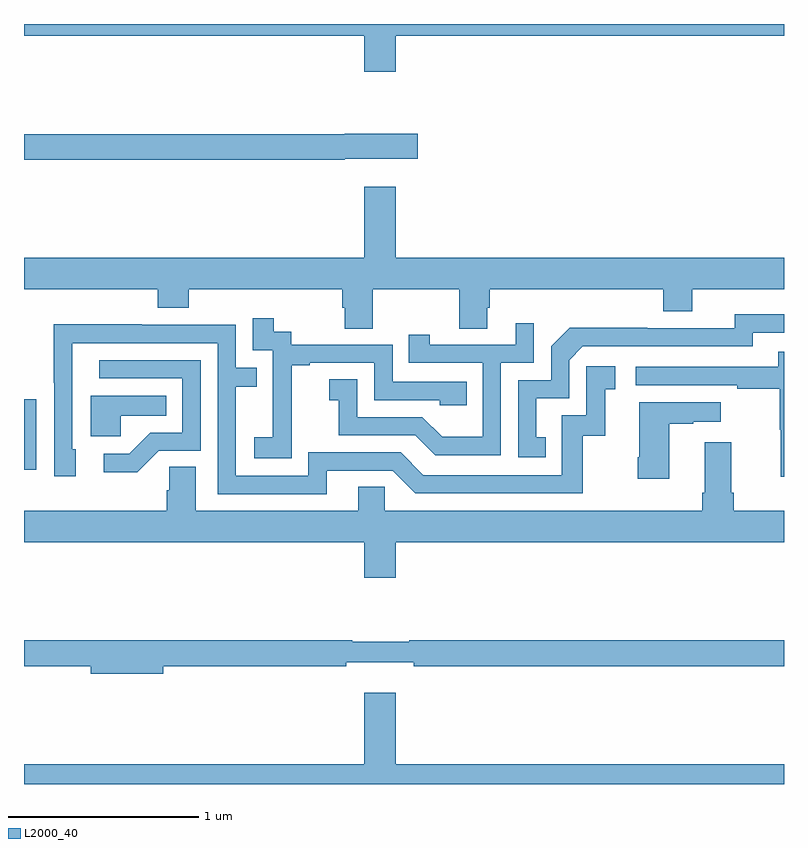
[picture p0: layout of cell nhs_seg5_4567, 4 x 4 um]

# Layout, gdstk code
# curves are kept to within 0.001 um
import gdstk
lib = gdstk.Library(unit=1e-6, precision=1e-09)
def R(c, l, rs):  # rectangles x0, y0, x1, y1
    for r in rs: c.add(gdstk.rectangle(r[:2], r[2:], *l))
def P(c, l, *ps):  # polygons
    for p in ps: c.add(gdstk.Polygon(p, *l))
L2000_40 = (2000, 40)

nhs_seg5_4567 = lib.new_cell('nhs_seg5_4567')
R(nhs_seg5_4567, L2000_40, [(379,878.454,379.065,878.824)])
P(nhs_seg5_4567, L2000_40, [(380.956,880.736),(383,880.736),(383,880.799),(379,880.799),(379,880.736),(380.792,880.736),(380.792,880.548),(380.956,880.548)],
  [(380.688,880.091),(381.073,880.091),(381.073,880.221),(380.688,880.221),(380.688,880.22),(379,880.22),(379,880.084),(380.688,880.084)],
  [(380.835,879.404),(381.292,879.404),(381.292,879.196),(381.439,879.196),(381.439,879.306),(381.452,879.306),(381.452,879.404),(382.364,879.404),(382.364,879.287),(382.516,879.287),(382.516,879.404),(383,879.404),(383,879.568),(380.956,879.568),(380.956,879.943),(380.792,879.943),(380.792,879.568),(379,879.568),(379,879.404),(379.703,879.404),(379.703,879.305),(379.868,879.305),(379.868,879.404),(380.675,879.404),(380.675,879.306),(380.687,879.306),(380.687,879.196),(380.835,879.196)],
  [(381.746,878.625),(381.697,878.625),(381.697,878.829),(381.87,878.829),(381.87,879.03),(381.942,879.102),(382.836,879.102),(382.836,879.174),(383,879.174),(383,879.271),(382.74,879.271),(382.74,879.198),(382.28,879.198),(382.28,879.2),(381.872,879.2),(381.774,879.102),(381.774,878.925),(381.6,878.925),(381.6,878.52),(381.746,878.52)],
  [(380.409,878.719),(380.408,878.719),(380.408,879.003),(380.503,879.003),(380.503,879.015),(380.844,879.015),(380.844,878.82),(381.189,878.82),(381.189,878.793),(381.329,878.793),(381.329,878.916),(380.94,878.916),(380.94,879.111),(380.406,879.111),(380.406,879.18),(380.314,879.18),(380.314,879.25),(380.205,879.25),(380.205,879.081),(380.31,879.081),(380.31,878.852),(380.309,878.852),(380.309,878.623),(380.211,878.623),(380.211,878.513),(380.409,878.513)],
  [(381.51,879.015),(381.684,879.015),(381.684,879.223),(381.587,879.223),(381.587,879.111),(381.136,879.111),(381.136,879.163),(381.025,879.163),(381.025,879.015),(381.414,879.015),(381.414,878.626),(381.2,878.626),(381.096,878.73),(380.754,878.73),(380.754,878.929),(380.607,878.929),(380.607,878.819),(380.656,878.819),(380.656,878.634),(381.059,878.634),(381.164,878.529),(381.51,878.529)],
  [(380.593,878.448),(380.94,878.448),(381.06,878.328),(381.94,878.328),(381.94,878.631),(382.058,878.631),(382.058,878.877),(382.111,878.877),(382.111,878.998),(381.96,878.998),(381.96,878.739),(381.831,878.739),(381.831,878.424),(381.102,878.424),(380.982,878.544),(380.496,878.544),(380.496,878.421),(380.115,878.421),(380.115,878.89),(380.225,878.89),(380.225,878.991),(380.115,878.991),(380.115,879.216),(379.619,879.216),(379.619,879.218),(379.156,879.218),(379.156,878.911),(379.158,878.911),(379.158,878.418),(379.273,878.418),(379.273,878.562),(379.254,878.562),(379.255,879.12),(380.019,879.12),(380.019,878.325),(380.593,878.325)],
  [(383,879.073),(382.969,879.073),(382.969,878.994),(382.221,878.994),(382.221,878.898),(382.753,878.898),(382.753,878.878),(382.977,878.878),(382.977,878.664),(382.984,878.664),(382.984,878.415),(383,878.415)],
  [(379.71,878.553),(379.929,878.553),(379.929,879.03),(379.395,879.03),(379.395,878.934),(379.833,878.934),(379.833,878.649),(379.664,878.649),(379.553,878.538),(379.419,878.538),(379.419,878.441),(379.597,878.441)],
  [(379.509,878.738),(379.748,878.738),(379.748,878.842),(379.352,878.842),(379.352,878.63),(379.509,878.63)],
  [(382.396,878.695),(382.523,878.695),(382.523,878.705),(382.666,878.705),(382.666,878.809),(382.238,878.809),(382.238,878.518),(382.231,878.518),(382.231,878.406),(382.396,878.406)],
  [(380.956,878.072),(383,878.072),(383,878.236),(382.736,878.236),(382.736,878.332),(382.723,878.332),(382.723,878.599),(382.583,878.599),(382.583,878.332),(382.571,878.332),(382.571,878.236),(380.898,878.236),(380.898,878.363),(380.759,878.363),(380.759,878.236),(379.903,878.236),(379.903,878.468),(379.764,878.468),(379.764,878.345),(379.751,878.345),(379.751,878.236),(379,878.236),(379,878.072),(380.792,878.072),(380.792,877.884),(380.956,877.884)],
  [(379.732,877.42),(380.696,877.42),(380.696,877.439),(381.052,877.439),(381.052,877.42),(383,877.42),(383,877.556),(381.028,877.556),(381.028,877.549),(380.728,877.549),(380.728,877.556),(379,877.556),(379,877.42),(379.352,877.42),(379.352,877.378),(379.732,877.378)],
  [(379,876.799),(383,876.799),(383,876.904),(380.956,876.904),(380.956,877.279),(380.792,877.279),(380.792,876.904),(379,876.904)])

lib.write_gds('nhs_seg5_4567.gds')
